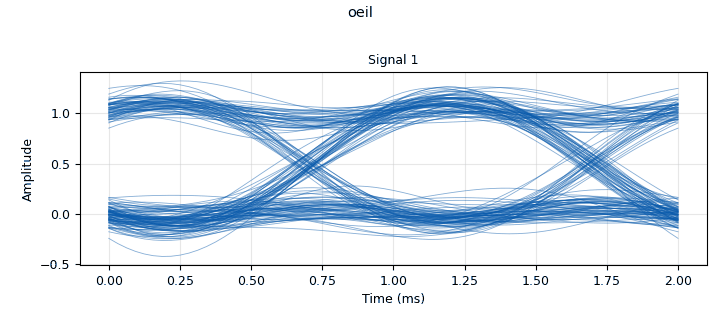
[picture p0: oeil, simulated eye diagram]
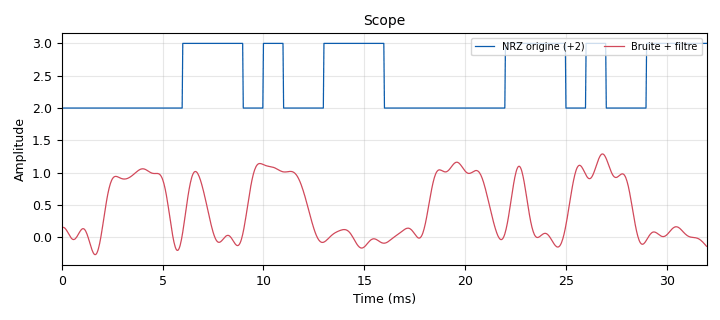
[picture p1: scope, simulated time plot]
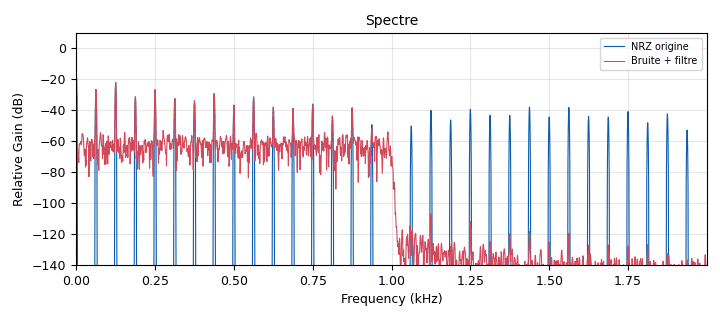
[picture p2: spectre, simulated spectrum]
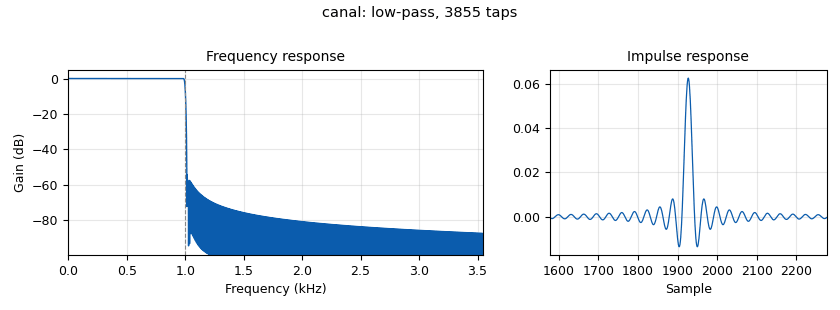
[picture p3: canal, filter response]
options:
  parameters:
    author: Groupe 2 - SAE 5.01 NFC
    description: 'V - Canal : bruit + passe-bas + diagramme de l oeil'
    generate_options: qt_gui
    id: NRZ_canal
    output_language: python
    title: NRZ_canal
  states: {}

blocks:
- name: N
  id: variable
  parameters:
    comment: Echantillons par bit
    value: int(samp_rate/clock)
  states: {}
- name: N_decimation
  id: variable
  parameters:
    comment: fobs = samp_rate/(2*N_decimation)
    value: '8'
  states: {}
- name: Nb
  id: variable_qtgui_range
  parameters:
    comment: Nombre de bits aleatoires
    rangeType: int
    start: '8'
    step: '2'
    stop: '256'
    value: '16'
  states: {}
- name: Nb
  id: variable
  parameters:
    comment: Remplace par le curseur QT GUI Range
    value: '16'
  states: {state: disabled}
- name: SOF_tag
  id: variable_tag_object
  parameters:
    comment: Tag debut de trame
    key: pmt.intern("SOF")
    offset: '0'
    src: pmt.intern("vecsrc")
    value: pmt.from_long(0)
  states: {}
- name: clock
  id: variable
  parameters:
    comment: Horloge bits (Hz)
    value: '1000'
  states: {}
- name: fc
  id: variable_qtgui_range
  parameters:
    comment: Frequence de coupure du canal
    start: '500'
    step: '50'
    stop: '1500'
    value: '1000'
  states: {}
- name: samp_rate
  id: variable
  parameters:
    value: '32000'
  states: {}
- name: add
  id: blocks_add_xx
  parameters:
    type: float
  states: {}
- name: bruit
  id: analog_noise_source_x
  parameters:
    amp: '0.3'
    comment: Bruit du canal
    noise_type: analog.GR_GAUSSIAN
    seed: '0'
    type: float
  states: {}
- name: canal
  id: low_pass_filter
  parameters:
    comment: Canal passe-bas
    cutoff_freq: fc
    decim: '1'
    gain: '1'
    samp_rate: samp_rate
    type: fir_filter_fff
    width: '20'
    win: window.WIN_HAMMING
  states: {}
- name: decim1
  id: fir_filter_xxx
  parameters:
    decim: N_decimation
    taps: '[1]'
    type: fff
  states: {}
- name: decim2
  id: fir_filter_xxx
  parameters:
    decim: N_decimation
    taps: '[1]'
    type: fff
  states: {}
- name: imp_np
  id: import
  parameters:
    imports: import numpy as np
  states: {}
- name: imp_pmt
  id: import
  parameters:
    imports: import pmt
  states: {}
- name: oeil
  id: qtgui_eye_sink_x
  parameters:
    autoscale: 'True'
    comment: Diagramme de l oeil
    grid: 'True'
    samp_per_symbol: int(samp_rate/clock)
    size: '10000'
    srate: samp_rate
    type: float
  states: {}
- name: offset
  id: blocks_add_const_vxx
  parameters:
    comment: Decalage vertical pour le scope
    const: '2'
    type: float
  states: {}
- name: repeat
  id: blocks_repeat
  parameters:
    comment: 1 bit = N echantillons
    interp: N
    type: float
  states: {}
- name: scope
  id: qtgui_time_sink_x
  parameters:
    autoscale: 'True'
    grid: 'True'
    label1: '"NRZ origine (+2)"'
    label2: '"Bruite + filtre"'
    name: '"Scope"'
    nconnections: '2'
    size: '1024'
    srate: samp_rate
    tr_mode: qtgui.TRIG_MODE_TAG
    tr_tag: '"SOF"'
    type: float
  states: {}
- name: spectre
  id: qtgui_freq_sink_x
  parameters:
    bw: samp_rate/N_decimation
    fc: '0'
    fftsize: '4096'
    freqhalf: 'False'
    grid: 'True'
    label1: '"NRZ origine"'
    label2: '"Bruite + filtre"'
    name: '"Spectre"'
    nconnections: '2'
    type: float
  states: {}
- name: throttle
  id: blocks_throttle2
  parameters:
    samples_per_second: samp_rate
    type: float
  states: {}
- name: vecsrc
  id: blocks_vector_source_x
  parameters:
    comment: Trame NRZ
    repeat: 'True'
    tags: '[SOF_tag]'
    type: float
    vector: np.random.randint(0,2,Nb).tolist()
  states: {}

connections:
- [add, '0', canal, '0']
- [bruit, '0', add, '1']
- [canal, '0', decim2, '0']
- [canal, '0', oeil, '0']
- [canal, '0', scope, '1']
- [decim1, '0', spectre, '0']
- [decim2, '0', spectre, '1']
- [offset, '0', scope, '0']
- [repeat, '0', throttle, '0']
- [throttle, '0', add, '0']
- [throttle, '0', decim1, '0']
- [throttle, '0', offset, '0']
- [vecsrc, '0', repeat, '0']

metadata:
  file_format: 1
  grc_version: 3.10.12.0
